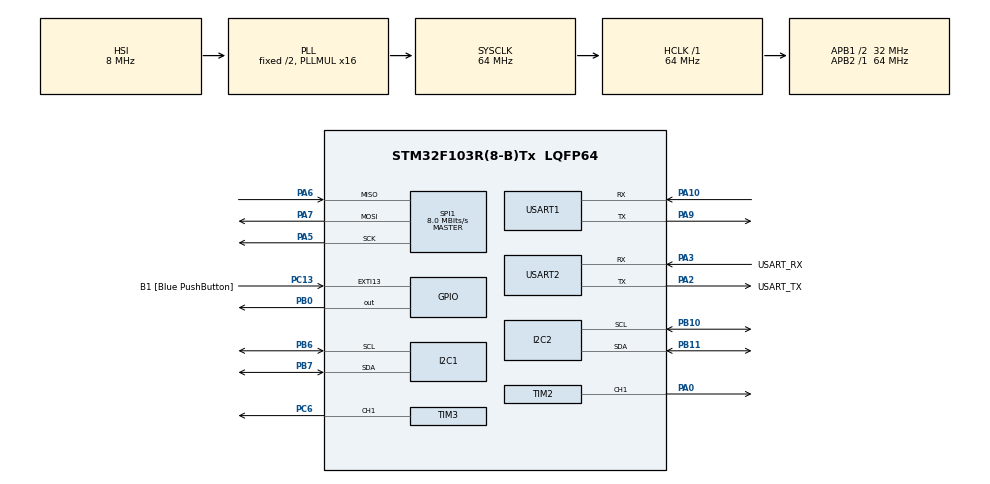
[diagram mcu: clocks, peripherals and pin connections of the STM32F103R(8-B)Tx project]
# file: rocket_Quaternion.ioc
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FATFS._MAX_SS=4096
FATFS._USE_LFN=1
Mcu.Family=STM32F1
Mcu.Name=STM32F103R(8-B)Tx
Mcu.Package=LQFP64
NVIC.EXTI15_10_IRQn=true\:0\:0\:false\:false\:true\:true\:true\:true
NVIC.I2C1_ER_IRQn=true\:0\:0\:false\:false\:true\:true\:true\:true
NVIC.I2C1_EV_IRQn=true\:0\:0\:false\:false\:true\:true\:true\:true
NVIC.I2C2_ER_IRQn=true\:0\:0\:false\:false\:true\:true\:true\:true
NVIC.I2C2_EV_IRQn=true\:0\:0\:false\:false\:true\:true\:true\:true
NVIC.PriorityGroup=NVIC_PRIORITYGROUP_4
NVIC.TIM2_IRQn=true\:0\:0\:false\:false\:true\:true\:true\:true
NVIC.TIM3_IRQn=true\:0\:0\:false\:false\:true\:true\:true\:true
NVIC.USART1_IRQn=true\:0\:0\:false\:false\:true\:true\:true\:true
NVIC.USART2_IRQn=true\:0\:0\:false\:false\:true\:true\:true\:true
PA0-WKUP.Signal=S_TIM2_CH1_ETR
PA10.Mode=Asynchronous
PA10.Signal=USART1_RX
PA13.GPIO_Label=TMS
PA13.Mode=Serial_Wire
PA13.Signal=SYS_JTMS-SWDIO
PA14.GPIO_Label=TCK
PA14.Mode=Serial_Wire
PA14.Signal=SYS_JTCK-SWCLK
PA2.GPIO_Label=USART_TX
PA2.GPIO_Mode=GPIO_MODE_AF_PP
PA2.GPIO_PuPd=GPIO_NOPULL
PA2.GPIO_Speed=GPIO_SPEED_FREQ_LOW
PA2.Mode=Asynchronous
PA2.Signal=USART2_TX
PA3.GPIO_Label=USART_RX
PA3.GPIO_Mode=GPIO_MODE_AF_PP
PA3.GPIO_PuPd=GPIO_NOPULL
PA3.GPIO_Speed=GPIO_SPEED_FREQ_LOW
PA3.Mode=Asynchronous
PA3.Signal=USART2_RX
PA5.Mode=Full_Duplex_Master
PA5.Signal=SPI1_SCK
PA6.Mode=Full_Duplex_Master
PA6.Signal=SPI1_MISO
PA7.Mode=Full_Duplex_Master
PA7.Signal=SPI1_MOSI
PA9.Mode=Asynchronous
PA9.Signal=USART1_TX
PB0.Signal=GPIO_Output
PB10.Mode=I2C
PB10.Signal=I2C2_SCL
PB11.Mode=I2C
PB11.Signal=I2C2_SDA
PB3.GPIO_Label=SWO
PB3.Signal=SYS_JTDO-TRACESWO
PB6.Mode=I2C
PB6.Signal=I2C1_SCL
PB7.Mode=I2C
PB7.Signal=I2C1_SDA
PC13-TAMPER-RTC.GPIO_Label=B1 [Blue PushButton]
PC13-TAMPER-RTC.GPIO_PuPd=GPIO_NOPULL
PC13-TAMPER-RTC.Signal=GPXTI13
PC14-OSC32_IN.Mode=LSE-External-Oscillator
PC14-OSC32_IN.Signal=RCC_OSC32_IN
PC15-OSC32_OUT.Mode=LSE-External-Oscillator
PC15-OSC32_OUT.Signal=RCC_OSC32_OUT
PC6.Signal=S_TIM3_CH1
PD0-OSC_IN.Mode=HSE-External-Clock-Source
PD0-OSC_IN.Signal=RCC_OSC_IN
PD1-OSC_OUT.Mode=HSE-External-Clock-Source
PD1-OSC_OUT.Signal=RCC_OSC_OUT
ProjectManager.HeapSize=0x200
ProjectManager.StackSize=0x400
ProjectManager.TargetToolchain=STM32CubeIDE
RCC.AHBFreq_Value=64000000
RCC.APB1CLKDivider=RCC_HCLK_DIV2
RCC.APB1Freq_Value=32000000
RCC.APB1TimFreq_Value=64000000
RCC.APB2Freq_Value=64000000
RCC.APB2TimFreq_Value=64000000
RCC.HCLKFreq_Value=64000000
RCC.PLLMUL=RCC_PLL_MUL16
RCC.RTCClockSelection=RCC_RTCCLKSOURCE_LSE
RCC.SYSCLKFreq_VALUE=64000000
RCC.SYSCLKSource=RCC_SYSCLKSOURCE_PLLCLK
RCC.USBFreq_Value=64000000
SH.S_TIM2_CH1_ETR.0=TIM2_CH1,PWM Generation1 CH1
SH.S_TIM3_CH1.0=TIM3_CH1,Output Compare1 CH1
SPI1.BaudRatePrescaler=SPI_BAUDRATEPRESCALER_8
SPI1.CalculateBaudRate=8.0 MBits/s
SPI1.Direction=SPI_DIRECTION_2LINES
SPI1.Mode=SPI_MODE_MASTER
SPI1.VirtualType=VM_MASTER
TIM2.Channel-PWM\ Generation1\ CH1=TIM_CHANNEL_1
TIM2.Period=1000 - 1
TIM2.Prescaler=1280 - 1
TIM3.Channel-Output\ Compare1\ CH1=TIM_CHANNEL_1
TIM3.Period=10000 - 1
TIM3.Prescaler=6400 - 1
USART1.VirtualMode=VM_ASYNC
USART2.VirtualMode=VM_ASYNC
VP_FATFS_VS_Generic.Mode=User_defined
VP_TIM2_VS_ClockSourceINT.Mode=Internal
VP_TIM3_VS_ClockSourceINT.Mode=Internal
board=NUCLEO-F103RB

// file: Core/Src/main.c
/* USER CODE BEGIN Header */
/**
 ******************************************************************************
 * @file           : main.c
 * @brief          : Main program body
 ******************************************************************************
 * @attention
 *
 * Copyright (c) 2023 STMicroelectronics.
 * All rights reserved.
 *
 * This software is licensed under terms that can be found in the LICENSE file
 * in the root directory of this software component.
 * If no LICENSE file comes with this software, it is provided AS-IS.
 *
 ******************************************************************************
 */
/* USER CODE END Header */
#include "main.h"
#include "fatfs.h"

/* USER CODE BEGIN Includes */
#include "stm32f1xx.h"
#include "BMP180.h"
#include "stdio.h"
#include "MPU6050.h"
#include "math.h"
#include "stdint.h"
/* USER CODE END Includes */

/* USER CODE BEGIN PD */
#define RAD_TO_DEG 57.29578
#define DEG_TO_RAD 0.017453
#define ALPHA 0.96                          // Complementary Filter alpha value
#define dt 0.00069                       	// check while loop time
/* USER CODE END PD */

I2C_HandleTypeDef hi2c1;
I2C_HandleTypeDef hi2c2;

SPI_HandleTypeDef hspi1;

TIM_HandleTypeDef htim2;
TIM_HandleTypeDef htim3;

UART_HandleTypeDef huart1;
UART_HandleTypeDef huart2;

/* USER CODE BEGIN PV */
float temp, press, altitude;                 	// Define User Variables Here!
int second = 0;                               	// time out variance
int Parachute = 0;                       		// state of parachute 0 is not deployed
int start = 0;                               	// state of time out func

float Z_velocity = 0.0f, Z_velgap = 0.0f, Z_stack = 0.0f, Z_velmean = 0.0f;
float gyroAngleX = 0.0f, gyroAngleY = 0.0f; 	// pitch(X) and roll(Y) angle (Euler Angle) by gyroscope
float accelAngleX = 0.0f, accelAngleY = 0.0f; 	// pitch(X) and roll(Y) angle (Euler Angle) by AccelerateScope
float compAngleX = 0.0f, compAngleY = 0.0f; 	// Complementary Filter result angle        URL https://blog.naver.com/intheglass14/222777512235 https://yjhtpi.tistory.com/352
float Rocket_vector[3] = { 0.0f };              // rocket vector(attitude) init

float vectorG[3] = {0.0f, 0.0f, -9.81f};
float Z_unitvector[3] = { 0.0f, 0.0f, 1.0f };   // Z-axis vector
float magnitudeRocket = 0.0f;
float magnitudeG = 0.0f;
float cosTheta = 0.0f;
float dotProduct = 0.0f;
float Rocket_Angle_Z = 0.0f;    					// result of dot product Rocket Vector with Z-axis
float a, b, c = 0.0f;                         	// just acos variables
typedef struct
{
	float x;
	float y;
	float z;
}vector;

uint32_t startTick, endTick, elapsedTicks, costTime_us; //just check while loop time
//-------------------------------- quaternion
float q0 = 1.0f;
float q1 = 0.0f;
float q2 = 0.0f;
float q3 = 0.0f;
float norm; 									// Acceleration
float dq0, dq1, dq2, dq3; 						// variance quater
float qDot0, qDot1, qDot2, qDot3;				// by acc
float pDot0, pDot1, pDot2, pDot3;				// by gyro
float lambda;

/* USER CODE END PV */

void SystemClock_Config(void);
static void MX_GPIO_Init(void);
static void MX_USART2_UART_Init(void);
static void MX_I2C1_Init(void);
static void MX_I2C2_Init(void);
static void MX_SPI1_Init(void);
static void MX_TIM2_Init(void);
static void MX_USART1_UART_Init(void);
static void MX_TIM3_Init(void);
/* USER CODE BEGIN PFP */
void SysTick_Init(void);               // systick  = like tic toc func in matlab
void SysTick_Delay_us(uint32_t us);
void setInitialQuaternion(float yaw, float pitch, float roll); //yaw_z, pitch_y, roll_x
/* USER CODE END PFP */

/* USER CODE BEGIN 0 */

// to use printf
#ifdef __GNUC__
/* With GCC/RAISONANCE, small printf (option LD Linker->Libraries->Small printf
 set to 'Yes') calls __io_putchar() */
#define PUTCHAR_PROTOTYPE int __io_putchar(int ch)
#else
#define PUTCHAR_PROTOTYPE int fputc(int ch, FILE *f)
#endif /* __GNUC__ */

PUTCHAR_PROTOTYPE {
	/* Place your implementation of fputc here */
	/* e.g. write a character to the EVAL_COM1 and Loop until the end of transmission */
	HAL_UART_Transmit(&huart2, (uint8_t*) &ch, 1, 0xFFFF);
	return ch;
}
// use printf

// sdcard part
FATFS fs; // file system
FIL fil;  // File
FILINFO fno;
FRESULT fresult; // result
UINT br, bw;     // File read/write count

/**** capacity related *****/
FATFS *pfs;
DWORD fre_clust;
uint32_t total, free_space;
char str[16]; // Enough to hold all numbers up to 32-bit int
// sdcard part

// mpu6050
RawData_Def myAccelRaw, myGyroRaw;
ScaledData_Def myAccelScaled, myGyroScaled, accAverage;
/* USER CODE END 0 */

int main(void)
{
  /* USER CODE BEGIN 1 */
	MPU_ConfigTypeDef myMpuConfig;
  /* USER CODE END 1 */

  /* MCU Configuration--------------------------------------------------------*/

  /* Reset of all peripherals, Initializes the Flash interface and the Systick. */
  HAL_Init();

  /* USER CODE BEGIN Init */
  SysTick_Init();
  /* USER CODE END Init */

  /* Configure the system clock */
  SystemClock_Config();

  /* Initialize all configured peripherals */
  MX_GPIO_Init();
  MX_USART2_UART_Init();
  MX_I2C1_Init();
  MX_I2C2_Init();
  MX_SPI1_Init();
  MX_TIM2_Init();
  MX_FATFS_Init();
  MX_USART1_UART_Init();
  MX_TIM3_Init();
  /* USER CODE BEGIN 2 */
	initialBMP180();
	MPU6050_Init(&hi2c1);
	myMpuConfig.Accel_Full_Scale = AFS_SEL_16g; 		// full scale setting
	myMpuConfig.ClockSource = Internal_8MHz;
	myMpuConfig.CONFIG_DLPF = DLPF_184A_188G_Hz;
	myMpuConfig.Gyro_Full_Scale = FS_SEL_500;
	myMpuConfig.Sleep_Mode_Bit = 0;
	MPU6050_Config(&myMpuConfig);
	HAL_TIM_Base_Start(&htim2);
	HAL_TIM_PWM_Start(&htim2, TIM_CHANNEL_1);
	HAL_TIM_Base_Start_IT(&htim3);

	fresult = f_mount(&fs, "/", 1);
	/* Check free space */
	f_getfree("", &fre_clust, &pfs);
	total = (uint32_t) ((pfs->n_fatent - 2) * pfs->csize * 0.5);
	free_space = (uint32_t) (fre_clust * pfs->csize * 0.5);
	/* Open file to write/ create a file if it doesn't exist */
	fresult = f_open(&fil, "file1.txt", FA_OPEN_ALWAYS | FA_READ | FA_WRITE);
	/* Writing text */

	float realAcc_x,realAcc_y,realAcc_z;
	float desiredAngle = 30.0;
  /* USER CODE END 2 */

  /* Infinite loop */
	while (1) {

    /* USER CODE BEGIN 3 */
		startTick = SysTick->VAL;             	// tic (check loop time)
		// bmp180 part
		temp = readTrueTemp();
		press = readTruePress(0);
		altitude = readTrueAltitude(0); 		// altitude = initAltitude - readTrueAltitude(0); will come here after confirm.
		// bmp180 part

		// mpu6050 part
		MPU6050_Get_Accel_Scale(&myAccelScaled);
		MPU6050_Get_Gyro_Scale(&myGyroScaled);

		// mpu6050 part
		if(start==0&&myAccelScaled.z<=1.5f){
			for(int count=0;count<3;count++){
				accAverage.x=0,accAverage.y=0,accAverage.z=0;
				accAverage.x=+myAccelScaled.x;
				accAverage.y=+myAccelScaled.y;
				accAverage.z=+myAccelScaled.z;
			}
			accAverage.x=accAverage.x/3.0f;
			accAverage.y=accAverage.y/3.0f;
			accAverage.z=accAverage.z/3.0f;		//moving mean filter
			gyroAngleX = atan2f(accAverage.y,		// RAD pitch and roll by acc scope
					sqrtf(accAverage.x * accAverage.x
							+ accAverage.z * accAverage.z));
			gyroAngleY = atan2f(-accAverage.x, 	//-myacc.x to myacc.x
					sqrtf(accAverage.y * accAverage.y
							+ accAverage.z * accAverage.z));

			setInitialQuaternion(0.0f, gyroAngleY,gyroAngleX);

			continue;		//start trigger
		}
		else
			start=1;
		/*                        this code will be run after remove gravity element from accelerate scope and add time out start point here
		 if (start == 0 || myAccelScaled.z >= 15.0)
		 {
		 Parachute = 1;
		 start = 1;
		 printf("Start deploying parachute system\r\n");
		 } */

		norm = sqrt(myAccelScaled.x * myAccelScaled.x + myAccelScaled.y * myAccelScaled.y + myAccelScaled.z * myAccelScaled.z);

		// accerlation variance minimum setting	가속도가 충분히 큰 경우에만 사용한
		if (norm > 0.1f) {
		    // 가속도를 단위 벡터로 정규화한다
			norm = 1.0f / norm;
			accAverage.x = myAccelScaled.x;
			accAverage.y = myAccelScaled.y;
			accAverage.z = myAccelScaled.z;
		    accAverage.x *= norm;
		    accAverage.y *= norm;
		    accAverage.z *= norm;

		    // calculate rotation matrix from present quaternion 현재의 쿼터니온으로부터 회전행렬의 일부를 계산한다
		    float _2q0 = 2.0f * q0;
		    float _2q1 = 2.0f * q1;
		    float _2q2 = 2.0f * q2;
		    float _2q3 = 2.0f * q3;
		    float _4q0 = 4.0f * q0;
		    float _4q1 = 4.0f * q1;
		    float _4q2 = 4.0f * q2;
		    float _8q1 = 8.0f * q1;
		    float _8q2 = 8.0f * q2;
		    float q0q0 = q0 * q0;
		    float q1q1 = q1 * q1;
		    float q2q2 = q2 * q2;
		    float q3q3 = q3 * q3;

		    // calculate variance of quaternion by accerlate scope (gradiant descent algorithm) 가속도에 의한 쿼터니온의 변화량을 계산한다 (그라디언트 디센트 알고리즘)
		    qDot0 = _4q0 * q2q2 + _2q2 * accAverage.x + _4q0 * q1q1 - _2q1 * accAverage.y;
		    qDot1 = _4q1 * q3q3 - _2q3 * accAverage.x + 4.0f * q0q0 * q1 - _2q0 * accAverage.y - _4q1 + _8q1 * q1q1 + _8q1 * q2q2 + _4q1 * accAverage.z;
		    qDot2 = 4.0f * q0q0 * q2 + _2q0 * accAverage.x + _4q2 * q3q3 - _2q3 * accAverage.y - _4q2 + _8q2 * q1q1 + _8q2 * q2q2 + _4q2 * accAverage.z;
		    qDot3 = 4.0f * q1q1 * q3 - _2q1 * accAverage.x + 4.0f * q2q2 * q3 - _2q2 * accAverage.y;

		    // calc size of gradiant 그라디언트의 크기를 계산한다
		    norm = sqrt(qDot0 * qDot0 + qDot1 * qDot1 + qDot2 * qDot2 + qDot3 * qDot3);

		    // normalize gradiant to unit vector 그라디언트를 단위 벡터로 정규화한다
		    norm = 1.0f / norm;
		    qDot0 *= norm;
		    qDot1 *= norm;
		    qDot2 *= norm;
		    qDot3 *= norm;
		}

		// calculate variance of quaternion by gyroscope 각속도에 의한 쿼터니온의 변화량을 계산한다
		pDot0 = -0.5f * (q1 * myGyroScaled.x + q2 * myGyroScaled.y + q3 * myGyroScaled.z);
		pDot1 =  0.5f * (q0 * myGyroScaled.x + q2 * myGyroScaled.z - q3 * myGyroScaled.y);
		pDot2 =  0.5f * (q0 * myGyroScaled.y - q1 * myGyroScaled.z + q3 * myGyroScaled.x);
		pDot3 =  0.5f * (q0 * myGyroScaled.z + q1 * myGyroScaled.y - q2 * myGyroScaled.x);

		// weight (complementary filter) 가속도와 각속도에 의한 쿼터니온의 변화량을 가중평균한다
		dq0 = pDot0 - (1-ALPHA) * qDot0;
		dq1 = pDot1 - (1-ALPHA) * qDot1;
		dq2 = pDot2 - (1-ALPHA) * qDot2;
		dq3 = pDot3 - (1-ALPHA) * qDot3;

		// update quaternion 쿼터니온을 업데이트한다
		q0 += dq0 * dt;
		q1 += dq1 * dt;
		q2 += dq2 * dt;
		q3 += dq3 * dt;

		// normalize quarternion 쿼터니온을 정규화한다
		norm = sqrt(q0*q0 + q1*q1 + q2*q2 + q3*q3);
		norm = 1.0f / norm;
		q0 *= norm;
		q1 *= norm;
		q2 *= norm;
		q3 *= norm;

		// quaternion to rocket vector 쿼터니온을 방향벡터로 변환한다
		Rocket_vector[0] = 2.0f*(q1*q3 - q0*q2); // x축
		Rocket_vector[1] = 2.0f*(q0*q1 + q2*q3); // y축
		Rocket_vector[2] = 1.0 - 2.0 * (q1 * q1 + q2 * q2); // z component
//		printf("%f, %f, %f\r\n",Rocket_vector[0],Rocket_vector[1],Rocket_vector[2]);
		// elimination gravity by minJun (Fail)
		dotProduct = Rocket_vector[0]*vectorG[0]+Rocket_vector[1]*vectorG[1]+Rocket_vector[2]*vectorG[2];
		magnitudeRocket = sqrt(Rocket_vector[0]*Rocket_vector[0] + Rocket_vector[1]*Rocket_vector[1] + Rocket_vector[2]*Rocket_vector[2]);
		magnitudeG = sqrt(vectorG[0]*vectorG[0] + vectorG[1]*vectorG[1] + vectorG[2]*vectorG[2]);
		cosTheta = dotProduct / (magnitudeRocket * magnitudeG);
		realAcc_x = myAccelScaled.x - 9.81*Rocket_vector[0]*cosTheta;
		realAcc_y = myAccelScaled.y - 9.81*Rocket_vector[1]*cosTheta;
		realAcc_z = myAccelScaled.z - 9.81*Rocket_vector[2]*cosTheta;

		a = Rocket_vector[0] * Z_unitvector[0]
						+ Rocket_vector[1] * Z_unitvector[1]
						+ Rocket_vector[2] * Z_unitvector[2];
		b = sqrt(Rocket_vector[0] * Rocket_vector[0]
								+ Rocket_vector[1] * Rocket_vector[1]
								+ Rocket_vector[2] * Rocket_vector[2]);
		c = sqrt(Z_unitvector[0] * Z_unitvector[0]
								+ Z_unitvector[1] * Z_unitvector[1]
								+ Z_unitvector[2] * Z_unitvector[2]);
		// calc Rocket attitude (RAD) 로켓의 기울기 정도를 계산한다 (라디안)
		Rocket_Angle_Z = (float)acos(a / (b * c));

//		printf("RocketAngle : %.2f, Acc: %.2f %.2f %.2f \r\n",Rocket_Angle_Z*RAD_TO_DEG,realAcc_x,realAcc_y,realAcc_z);					// test code not pass

		//calculate acc comp by gravity
		if (myGyroScaled.z*dt > (M_PI / 4)) {
			//calc with sine    /use rho and thea
			lambda = (float)atan(tan((double)myGyroScaled.x*dt) / sin((double)myGyroScaled.z*dt));
		}
		else {
			//calc with cosine  /use pi and thea
			lambda = (float)atan(tan((double)myGyroScaled.y*dt) / cos((double)myGyroScaled.z*dt));
		}

		//with lambda, we should calculate gravity comp of each axis.
		//gravity = 9.81m/s^2
		float gravity_x = 9.81 * sin((double)lambda) * cos((double)myGyroScaled.z*dt);
		float gravity_y = 9.81* sin((double)lambda) * sin((double)myGyroScaled.z*dt);
		float gravity_z = 9.81* cos((double)lambda);

		//store acc to matrix
		float accx = myAccelScaled.x - gravity_x;
		float accy = myAccelScaled.y - gravity_y;
		float accz = myAccelScaled.z - gravity_z;
		printf("RocketAngle : %.2f, Acc: %.2f %.2f %.2f \r\n",Rocket_Angle_Z*RAD_TO_DEG,accx,accy,accz);					// test code not pass
		HAL_Delay(50);
//		float accZ_rot = -accZ_raw * sin(compAngleY) + accY_raw * cos(compAngleY);
//		printf("pure Z acc : %.2f\r\n", accZ_rot); 						// test code not pass

//		Z_stack -= Z_velocity;             								// delete pre-prev vel
//		Z_velocity += accZ_rot * dt;       								// calc Zvelocity
//		Z_stack += Z_velocity;             								// add updated vel
//		Z_velmean = Z_stack / 2;           								// mean of prev and
//		Z_velgap = Z_velocity - Z_velmean;

		// deploy parachute part
		if (Parachute == 0)                           					// == 1 ( 0 is just test )
		{
			if (altitude >= 380) {
				Parachute = 0;
				printf("deploy parachute: altitude\r\n");
			}
			else if (Rocket_Angle_Z*RAD_TO_DEG > desiredAngle ) {
				Parachute = 0;
				printf("deploy parachute: Desired Angle\r\n");
			}
			// if (Z_velgap <= 0.1f)
			// {
			//   Parachute = 0;
			//   printf("deploy parachute : Z velocity");
			// }
			else if (second >= 4) // 10 s
			{
				Parachute = 0;
				printf("deploy parachute : time out\r\n");
			}
		}

		// sdcard part
		char buffer[100]; // Buffer to hold string

		sprintf(buffer,
				"altitude: %.2f Gyro: X=%.2f Y=%.2f Z=%.2f Accel: X=%.2f Y=%.2f Z=%.2f\r\n",
				altitude, myGyroScaled.x, myGyroScaled.y, myGyroScaled.z,
				myAccelScaled.x, myAccelScaled.y, myAccelScaled.z);
		if (fresult == FR_OK) {
			fresult = f_write(&fil, buffer, strlen(buffer), &bw); // Write the string to file
			f_sync(&fil);                    // Ensure data is written and saved
		}
		endTick = SysTick->VAL;             	// tic (check loop time)
		// SysTick은 다운 카운터이므로 startTick > endTick
		elapsedTicks = startTick > endTick ? startTick - endTick : startTick + (0xFFFFFF - endTick);
		costTime_us = (elapsedTicks * 8) / (64000000 / 1000000);

//		printf("%lu\r\n", costTime_us);
		HAL_Delay(1);
		// sdcard part
	}
	// sdcard part
	if (fresult == FR_OK) {
		fresult = f_close(&fil);
	}
	// sdcard part

  /* USER CODE END 3 */
}

void SystemClock_Config(void)
{
  RCC_OscInitTypeDef RCC_OscInitStruct = {0};
  RCC_ClkInitTypeDef RCC_ClkInitStruct = {0};

  /** Initializes the RCC Oscillators according to the specified parameters
  * in the RCC_OscInitTypeDef structure.
  */
  RCC_OscInitStruct.OscillatorType = RCC_OSCILLATORTYPE_HSI;
  RCC_OscInitStruct.HSIState = RCC_HSI_ON;
  RCC_OscInitStruct.HSICalibrationValue = RCC_HSICALIBRATION_DEFAULT;
  RCC_OscInitStruct.PLL.PLLState = RCC_PLL_ON;
  RCC_OscInitStruct.PLL.PLLSource = RCC_PLLSOURCE_HSI_DIV2;
  RCC_OscInitStruct.PLL.PLLMUL = RCC_PLL_MUL16;
  if (HAL_RCC_OscConfig(&RCC_OscInitStruct) != HAL_OK)
  {
    Error_Handler();
  }

  /** Initializes the CPU, AHB and APB buses clocks
  */
  RCC_ClkInitStruct.ClockType = RCC_CLOCKTYPE_HCLK|RCC_CLOCKTYPE_SYSCLK
                              |RCC_CLOCKTYPE_PCLK1|RCC_CLOCKTYPE_PCLK2;
  RCC_ClkInitStruct.SYSCLKSource = RCC_SYSCLKSOURCE_PLLCLK;
  RCC_ClkInitStruct.AHBCLKDivider = RCC_SYSCLK_DIV1;
  RCC_ClkInitStruct.APB1CLKDivider = RCC_HCLK_DIV2;
  RCC_ClkInitStruct.APB2CLKDivider = RCC_HCLK_DIV1;

  if (HAL_RCC_ClockConfig(&RCC_ClkInitStruct, FLASH_LATENCY_2) != HAL_OK)
  {
    Error_Handler();
  }
}

static void MX_I2C1_Init(void)
{

  hi2c1.Instance = I2C1;
  hi2c1.Init.ClockSpeed = 100000;
  hi2c1.Init.DutyCycle = I2C_DUTYCYCLE_2;
  hi2c1.Init.OwnAddress1 = 0;
  hi2c1.Init.AddressingMode = I2C_ADDRESSINGMODE_7BIT;
  hi2c1.Init.DualAddressMode = I2C_DUALADDRESS_DISABLE;
  hi2c1.Init.OwnAddress2 = 0;
  hi2c1.Init.GeneralCallMode = I2C_GENERALCALL_DISABLE;
  hi2c1.Init.NoStretchMode = I2C_NOSTRETCH_DISABLE;
  if (HAL_I2C_Init(&hi2c1) != HAL_OK)
  {
    Error_Handler();
  }

}

static void MX_I2C2_Init(void)
{

  hi2c2.Instance = I2C2;
  hi2c2.Init.ClockSpeed = 100000;
  hi2c2.Init.DutyCycle = I2C_DUTYCYCLE_2;
  hi2c2.Init.OwnAddress1 = 0;
  hi2c2.Init.AddressingMode = I2C_ADDRESSINGMODE_7BIT;
  hi2c2.Init.DualAddressMode = I2C_DUALADDRESS_DISABLE;
  hi2c2.Init.OwnAddress2 = 0;
  hi2c2.Init.GeneralCallMode = I2C_GENERALCALL_DISABLE;
  hi2c2.Init.NoStretchMode = I2C_NOSTRETCH_DISABLE;
  if (HAL_I2C_Init(&hi2c2) != HAL_OK)
  {
    Error_Handler();
  }

}

static void MX_SPI1_Init(void)
{

  /* SPI1 parameter configuration*/
  hspi1.Instance = SPI1;
  hspi1.Init.Mode = SPI_MODE_MASTER;
  hspi1.Init.Direction = SPI_DIRECTION_2LINES;
  hspi1.Init.DataSize = SPI_DATASIZE_8BIT;
  hspi1.Init.CLKPolarity = SPI_POLARITY_LOW;
  hspi1.Init.CLKPhase = SPI_PHASE_1EDGE;
  hspi1.Init.NSS = SPI_NSS_SOFT;
  hspi1.Init.BaudRatePrescaler = SPI_BAUDRATEPRESCALER_8;
  hspi1.Init.FirstBit = SPI_FIRSTBIT_MSB;
  hspi1.Init.TIMode = SPI_TIMODE_DISABLE;
  hspi1.Init.CRCCalculation = SPI_CRCCALCULATION_DISABLE;
  hspi1.Init.CRCPolynomial = 10;
  if (HAL_SPI_Init(&hspi1) != HAL_OK)
  {
    Error_Handler();
  }

}

static void MX_TIM2_Init(void)
{

  TIM_ClockConfigTypeDef sClockSourceConfig = {0};
  TIM_MasterConfigTypeDef sMasterConfig = {0};
  TIM_OC_InitTypeDef sConfigOC = {0};

  htim2.Instance = TIM2;
  htim2.Init.Prescaler = 1280 - 1;
  htim2.Init.CounterMode = TIM_COUNTERMODE_UP;
  htim2.Init.Period = 1000 - 1;
  htim2.Init.ClockDivision = TIM_CLOCKDIVISION_DIV1;
  htim2.Init.AutoReloadPreload = TIM_AUTORELOAD_PRELOAD_DISABLE;
  if (HAL_TIM_Base_Init(&htim2) != HAL_OK)
  {
    Error_Handler();
  }
  sClockSourceConfig.ClockSource = TIM_CLOCKSOURCE_INTERNAL;
  if (HAL_TIM_ConfigClockSource(&htim2, &sClockSourceConfig) != HAL_OK)
  {
    Error_Handler();
  }
  if (HAL_TIM_PWM_Init(&htim2) != HAL_OK)
  {
    Error_Handler();
  }
  sMasterConfig.MasterOutputTrigger = TIM_TRGO_RESET;
  sMasterConfig.MasterSlaveMode = TIM_MASTERSLAVEMODE_DISABLE;
  if (HAL_TIMEx_MasterConfigSynchronization(&htim2, &sMasterConfig) != HAL_OK)
  {
    Error_Handler();
  }
  sConfigOC.OCMode = TIM_OCMODE_PWM1;
  sConfigOC.Pulse = 0;
  sConfigOC.OCPolarity = TIM_OCPOLARITY_HIGH;
  sConfigOC.OCFastMode = TIM_OCFAST_DISABLE;
  if (HAL_TIM_PWM_ConfigChannel(&htim2, &sConfigOC, TIM_CHANNEL_1) != HAL_OK)
  {
    Error_Handler();
  }
  HAL_TIM_MspPostInit(&htim2);

}

static void MX_TIM3_Init(void)
{

  TIM_ClockConfigTypeDef sClockSourceConfig = {0};
  TIM_MasterConfigTypeDef sMasterConfig = {0};
  TIM_OC_InitTypeDef sConfigOC = {0};

  htim3.Instance = TIM3;
  htim3.Init.Prescaler = 6400 - 1;
  htim3.Init.CounterMode = TIM_COUNTERMODE_UP;
  htim3.Init.Period = 10000 - 1;
  htim3.Init.ClockDivision = TIM_CLOCKDIVISION_DIV1;
  htim3.Init.AutoReloadPreload = TIM_AUTORELOAD_PRELOAD_DISABLE;
  if (HAL_TIM_Base_Init(&htim3) != HAL_OK)
  {
    Error_Handler();
  }
  sClockSourceConfig.ClockSource = TIM_CLOCKSOURCE_INTERNAL;
  if (HAL_TIM_ConfigClockSource(&htim3, &sClockSourceConfig) != HAL_OK)
  {
    Error_Handler();
  }
  if (HAL_TIM_OC_Init(&htim3) != HAL_OK)
  {
    Error_Handler();
  }
  sMasterConfig.MasterOutputTrigger = TIM_TRGO_RESET;
  sMasterConfig.MasterSlaveMode = TIM_MASTERSLAVEMODE_DISABLE;
  if (HAL_TIMEx_MasterConfigSynchronization(&htim3, &sMasterConfig) != HAL_OK)
  {
    Error_Handler();
  }
  sConfigOC.OCMode = TIM_OCMODE_TIMING;
  sConfigOC.Pulse = 0;
  sConfigOC.OCPolarity = TIM_OCPOLARITY_HIGH;
  sConfigOC.OCFastMode = TIM_OCFAST_DISABLE;
  if (HAL_TIM_OC_ConfigChannel(&htim3, &sConfigOC, TIM_CHANNEL_1) != HAL_OK)
  {
    Error_Handler();
  }
  HAL_TIM_MspPostInit(&htim3);

}

static void MX_USART1_UART_Init(void)
{

  huart1.Instance = USART1;
  huart1.Init.BaudRate = 115200;
  huart1.Init.WordLength = UART_WORDLENGTH_8B;
  huart1.Init.StopBits = UART_STOPBITS_1;
  huart1.Init.Parity = UART_PARITY_NONE;
  huart1.Init.Mode = UART_MODE_TX_RX;
  huart1.Init.HwFlowCtl = UART_HWCONTROL_NONE;
  huart1.Init.OverSampling = UART_OVERSAMPLING_16;
  if (HAL_UART_Init(&huart1) != HAL_OK)
  {
    Error_Handler();
  }

}

static void MX_USART2_UART_Init(void)
{

  huart2.Instance = USART2;
  huart2.Init.BaudRate = 115200;
  huart2.Init.WordLength = UART_WORDLENGTH_8B;
  huart2.Init.StopBits = UART_STOPBITS_1;
  huart2.Init.Parity = UART_PARITY_NONE;
  huart2.Init.Mode = UART_MODE_TX_RX;
  huart2.Init.HwFlowCtl = UART_HWCONTROL_NONE;
  huart2.Init.OverSampling = UART_OVERSAMPLING_16;
  if (HAL_UART_Init(&huart2) != HAL_OK)
  {
    Error_Handler();
  }

}

static void MX_GPIO_Init(void)
{
  GPIO_InitTypeDef GPIO_InitStruct = {0};

  /* GPIO Ports Clock Enable */
  __HAL_RCC_GPIOC_CLK_ENABLE();
  __HAL_RCC_GPIOD_CLK_ENABLE();
  __HAL_RCC_GPIOA_CLK_ENABLE();
  __HAL_RCC_GPIOB_CLK_ENABLE();

  /*Configure GPIO pin Output Level */
  HAL_GPIO_WritePin(GPIOB, GPIO_PIN_0, GPIO_PIN_RESET);

  /*Configure GPIO pin : B1_Pin */
  GPIO_InitStruct.Pin = B1_Pin;
  GPIO_InitStruct.Mode = GPIO_MODE_IT_RISING;
  GPIO_InitStruct.Pull = GPIO_NOPULL;
  HAL_GPIO_Init(B1_GPIO_Port, &GPIO_InitStruct);

  /*Configure GPIO pin : PB0 */
  GPIO_InitStruct.Pin = GPIO_PIN_0;
  GPIO_InitStruct.Mode = GPIO_MODE_OUTPUT_PP;
  GPIO_InitStruct.Pull = GPIO_NOPULL;
  GPIO_InitStruct.Speed = GPIO_SPEED_FREQ_LOW;
  HAL_GPIO_Init(GPIOB, &GPIO_InitStruct);

  /* EXTI interrupt init*/
  HAL_NVIC_SetPriority(EXTI15_10_IRQn, 0, 0);
  HAL_NVIC_EnableIRQ(EXTI15_10_IRQn);

}

/* USER CODE BEGIN 4 */
void HAL_TIM_PeriodElapsedCallback(TIM_HandleTypeDef *htim) // time out private function
{
	if (htim->Instance == TIM3) {
		second++;
		if (second == 5) {
			//      printf("timeout ok\r\n");
			second = 0;
		}
	}
}

void SysTick_Init(void)                      // tic toc function - once of while
{
	SysTick->LOAD = 0xFFFFFF;                   // set max value
	SysTick->VAL = 0;                           // init present count to 0
	SysTick->CTRL = SysTick_CTRL_CLKSOURCE_Msk |
	SysTick_CTRL_ENABLE_Msk;    // timer start using CPU Clock
}

void SysTick_Delay_us(uint32_t us)            // tic toc function
{
	SysTick->LOAD = us * (64000000 / 8 / 1000000) - 1;
	SysTick->VAL = 0;
	while (!(SysTick->CTRL & SysTick_CTRL_COUNTFLAG_Msk))
		;
}
void setInitialQuaternion(float yaw, float pitch, float roll) { //yaw_z, pitch_y, roll_x
    float cy = cos(yaw * 0.5);
    float sy = sin(yaw * 0.5);
    float cp = cos(pitch * 0.5);
    float sp = sin(pitch * 0.5);
    float cr = cos(roll * 0.5);
    float sr = sin(roll * 0.5);

    q0 = cy * cp * cr + sy * sp * sr; // q0
    q1 = cy * cp * sr - sy * sp * cr; // q1
    q2 = sy * cp * sr + cy * sp * cr; // q2
    q3 = sy * cp * cr - cy * sp * sr; // q3
}
/* USER CODE END 4 */

void Error_Handler(void)
{
	__disable_irq();
	while (1) {
	}
}
